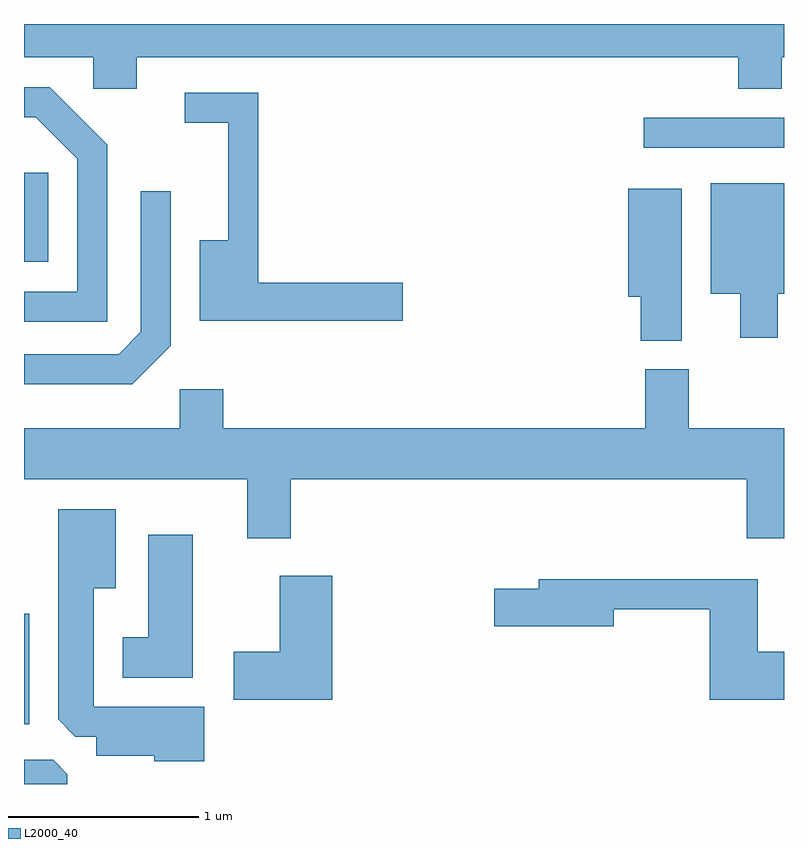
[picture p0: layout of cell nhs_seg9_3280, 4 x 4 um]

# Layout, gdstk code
import gdstk
lib = gdstk.Library(unit=1e-6, precision=1e-09)
def R(c, l, rs):  # rectangles x0, y0, x1, y1
    for r in rs: c.add(gdstk.rectangle(r[:2], r[2:], *l))
def P(c, l, *ps):  # polygons
    for p in ps: c.add(gdstk.Polygon(p, *l))
L2000_40 = (2000, 40)

nhs_seg9_3280 = lib.new_cell('nhs_seg9_3280')
R(nhs_seg9_3280, L2000_40, [(281.611,1992.746,281.639,1993.329), (281.611,1995.181,281.739,1995.649), (284.873,1995.781,285.611,1995.939)])
P(nhs_seg9_3280, L2000_40, [(282.204,1996.256),(285.371,1996.256),(285.371,1996.091),(285.599,1996.091),(285.599,1996.256),(285.611,1996.256),(285.611,1996.432),(281.611,1996.432),(281.611,1996.256),(281.976,1996.256),(281.976,1996.091),(282.204,1996.091)],
  [(282.049,1995.797),(281.747,1996.099),(281.611,1996.099),(281.611,1995.941),(281.674,1995.941),(281.891,1995.724),(281.891,1995.024),(281.611,1995.024),(281.611,1994.866),(282.049,1994.866)],
  [(283.604,1995.069),(282.844,1995.069),(282.844,1996.069),(282.458,1996.069),(282.458,1995.911),(282.686,1995.911),(282.686,1995.294),(282.536,1995.294),(282.536,1994.871),(283.604,1994.871)],
  [(285.579,1995.011),(285.611,1995.011),(285.611,1995.594),(285.226,1995.594),(285.226,1995.011),(285.381,1995.011),(285.381,1994.781),(285.579,1994.781)],
  [(285.074,1995.564),(284.791,1995.564),(284.791,1994.996),(284.856,1994.996),(284.856,1994.766),(285.074,1994.766)],
  [(282.384,1994.739),(282.384,1995.553),(282.226,1995.553),(282.226,1994.812),(282.109,1994.694),(281.611,1994.694),(281.611,1994.536),(282.182,1994.536)],
  [(283.014,1994.036),(285.416,1994.036),(285.416,1993.726),(285.611,1993.726),(285.611,1994.304),(285.109,1994.304),(285.109,1994.614),(284.881,1994.614),(284.881,1994.304),(282.659,1994.304),(282.659,1994.509),(282.431,1994.509),(282.431,1994.304),(281.611,1994.304),(281.611,1994.036),(282.786,1994.036),(282.786,1993.726),(283.014,1993.726)],
  [(282.559,1992.839),(281.979,1992.839),(281.979,1993.461),(282.094,1993.461),(282.094,1993.879),(281.791,1993.879),(281.791,1992.772),(281.882,1992.681),(281.991,1992.681),(281.991,1992.581),(282.296,1992.581),(282.296,1992.551),(282.559,1992.551)],
  [(282.499,1993.744),(282.266,1993.744),(282.266,1993.204),(282.131,1993.204),(282.131,1992.991),(282.499,1992.991)],
  [(283.234,1993.529),(282.956,1993.529),(282.956,1993.129),(282.716,1993.129),(282.716,1992.876),(283.234,1992.876)],
  [(285.611,1993.129),(285.474,1993.129),(285.474,1993.509),(284.321,1993.509),(284.321,1993.459),(284.086,1993.459),(284.086,1993.261),(284.714,1993.261),(284.714,1993.351),(285.221,1993.351),(285.221,1992.876),(285.611,1992.876)],
  [(281.839,1992.484),(281.764,1992.559),(281.611,1992.559),(281.611,1992.432),(281.839,1992.432)])

lib.write_gds('nhs_seg9_3280.gds')
